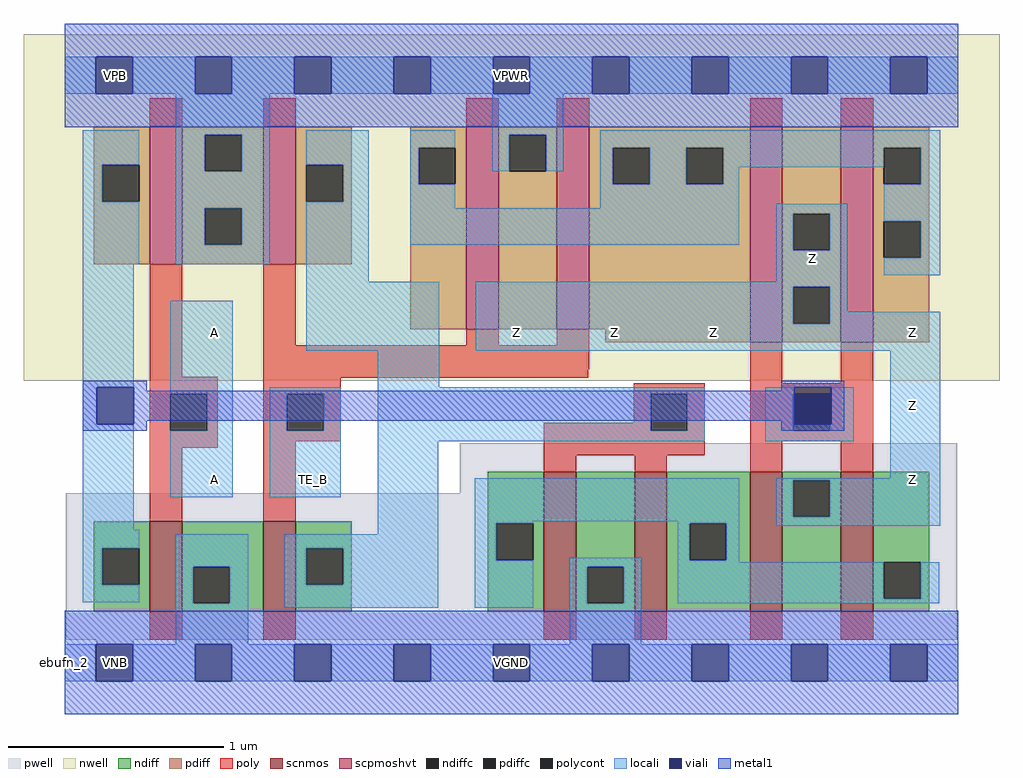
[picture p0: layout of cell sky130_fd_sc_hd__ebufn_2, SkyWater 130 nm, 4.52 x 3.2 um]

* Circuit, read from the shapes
.subckt sky130_fd_sc_hd__ebufn_2 A TE_B VGND VNB VPB VPWR Z
XM1 VGND A n1 VNB sky130_fd_pr__nfet_01v8 w=0.42 l=0.15
XM2 n2 TE_B VGND VNB sky130_fd_pr__nfet_01v8 w=0.42 l=0.15
XM3 VGND n2 n3 VNB sky130_fd_pr__nfet_01v8 w=0.65 l=0.15 m=2
XM4 Z n1 n3 VNB sky130_fd_pr__nfet_01v8 w=0.65 l=0.15 m=2
XM5 VPWR A n1 VPB sky130_fd_pr__pfet_01v8_hvt w=0.64 l=0.15
XM6 n2 TE_B VPWR VPB sky130_fd_pr__pfet_01v8_hvt w=0.64 l=0.15
XM7 VPWR TE_B n4 VPB sky130_fd_pr__pfet_01v8_hvt w=0.94 l=0.15 m=2
XM8 Z n1 n4 VPB sky130_fd_pr__pfet_01v8_hvt w=1 l=0.15 m=2
.ends

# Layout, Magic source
magic
tech sky130A
magscale 1 2
<< nwell >>
rect -38 261 866 582
<< pwell >>
rect 366 157 827 203
rect 1 21 827 157
rect 30 -17 64 21
<< scnmos >>
rect 79 47 109 131
rect 184 47 214 131
rect 444 47 474 177
rect 528 47 558 177
rect 635 47 665 177
rect 719 47 749 177
<< scpmoshvt >>
rect 79 369 109 497
rect 184 369 214 497
rect 372 309 402 497
rect 456 309 486 497
rect 635 297 665 497
rect 719 297 749 497
<< ndiff >>
rect 27 106 79 131
rect 27 72 35 106
rect 69 72 79 106
rect 27 47 79 72
rect 109 89 184 131
rect 109 55 119 89
rect 153 55 184 89
rect 109 47 184 55
rect 214 106 266 131
rect 214 72 224 106
rect 258 72 266 106
rect 214 47 266 72
rect 392 129 444 177
rect 392 95 400 129
rect 434 95 444 129
rect 392 47 444 95
rect 474 89 528 177
rect 474 55 484 89
rect 518 55 528 89
rect 474 47 528 55
rect 558 129 635 177
rect 558 95 579 129
rect 613 95 635 129
rect 558 47 635 95
rect 665 169 719 177
rect 665 135 675 169
rect 709 135 719 169
rect 665 47 719 135
rect 749 93 801 177
rect 749 59 759 93
rect 793 59 801 93
rect 749 47 801 59
<< pdiff >>
rect 27 461 79 497
rect 27 427 35 461
rect 69 427 79 461
rect 27 369 79 427
rect 109 489 184 497
rect 109 455 130 489
rect 164 455 184 489
rect 109 421 184 455
rect 109 387 130 421
rect 164 387 184 421
rect 109 369 184 387
rect 214 461 266 497
rect 214 427 224 461
rect 258 427 266 461
rect 214 369 266 427
rect 320 477 372 497
rect 320 443 328 477
rect 362 443 372 477
rect 320 309 372 443
rect 402 489 456 497
rect 402 455 412 489
rect 446 455 456 489
rect 402 309 456 455
rect 486 477 635 497
rect 486 443 508 477
rect 542 443 576 477
rect 610 443 635 477
rect 486 309 635 443
rect 501 297 635 309
rect 665 416 719 497
rect 665 382 675 416
rect 709 382 719 416
rect 665 348 719 382
rect 665 314 675 348
rect 709 314 719 348
rect 665 297 719 314
rect 749 477 801 497
rect 749 443 759 477
rect 793 443 801 477
rect 749 409 801 443
rect 749 375 759 409
rect 793 375 801 409
rect 749 297 801 375
<< ndiffc >>
rect 35 72 69 106
rect 119 55 153 89
rect 224 72 258 106
rect 400 95 434 129
rect 484 55 518 89
rect 579 95 613 129
rect 675 135 709 169
rect 759 59 793 93
<< pdiffc >>
rect 35 427 69 461
rect 130 455 164 489
rect 130 387 164 421
rect 224 427 258 461
rect 328 443 362 477
rect 412 455 446 489
rect 508 443 542 477
rect 576 443 610 477
rect 675 382 709 416
rect 675 314 709 348
rect 759 443 793 477
rect 759 375 793 409
<< poly >>
rect 79 497 109 523
rect 184 497 214 523
rect 372 497 402 523
rect 456 497 486 523
rect 635 497 665 523
rect 719 497 749 523
rect 79 265 109 369
rect 184 294 214 369
rect 372 294 402 309
rect 456 294 486 309
rect 184 272 486 294
rect 79 249 142 265
rect 79 215 98 249
rect 132 215 142 249
rect 79 199 142 215
rect 184 264 485 272
rect 184 249 256 264
rect 635 259 665 297
rect 719 259 749 297
rect 184 215 206 249
rect 240 215 256 249
rect 527 249 593 259
rect 527 222 543 249
rect 184 205 256 215
rect 444 215 543 222
rect 577 215 593 249
rect 79 131 109 199
rect 184 131 214 205
rect 444 192 593 215
rect 635 249 749 259
rect 635 215 675 249
rect 709 215 749 249
rect 635 205 749 215
rect 444 177 474 192
rect 528 177 558 192
rect 635 177 665 205
rect 719 177 749 205
rect 79 21 109 47
rect 184 21 214 47
rect 444 21 474 47
rect 528 21 558 47
rect 635 21 665 47
rect 719 21 749 47
<< polycont >>
rect 98 215 132 249
rect 206 215 240 249
rect 543 215 577 249
rect 675 215 709 249
<< locali >>
rect 0 527 29 561
rect 63 527 121 561
rect 155 527 213 561
rect 247 527 305 561
rect 339 527 397 561
rect 431 527 489 561
rect 523 527 581 561
rect 615 527 673 561
rect 707 527 765 561
rect 799 527 828 561
rect 17 461 69 493
rect 17 427 35 461
rect 17 369 69 427
rect 103 489 190 527
rect 103 455 130 489
rect 164 455 190 489
rect 103 421 190 455
rect 103 387 130 421
rect 164 387 190 421
rect 103 369 190 387
rect 224 461 282 493
rect 258 427 282 461
rect 17 255 64 369
rect 224 353 282 427
rect 320 477 362 493
rect 320 443 328 477
rect 396 489 462 527
rect 396 455 412 489
rect 446 455 462 489
rect 496 477 811 493
rect 320 421 362 443
rect 496 443 508 477
rect 542 443 576 477
rect 610 459 759 477
rect 610 443 625 459
rect 496 421 625 443
rect 793 443 811 477
rect 320 387 625 421
rect 659 416 725 425
rect 659 382 675 416
rect 709 382 725 416
rect 659 353 725 382
rect 759 409 811 443
rect 793 375 811 409
rect 759 359 811 375
rect 17 221 30 255
rect 17 123 64 221
rect 98 249 156 335
rect 224 289 347 353
rect 381 348 725 353
rect 381 314 675 348
rect 709 325 725 348
rect 709 314 811 325
rect 381 289 811 314
rect 290 255 347 289
rect 132 215 156 249
rect 98 153 156 215
rect 190 249 256 255
rect 190 215 206 249
rect 240 215 256 249
rect 190 153 256 215
rect 290 249 593 255
rect 290 215 543 249
rect 577 215 593 249
rect 290 205 593 215
rect 649 249 676 255
rect 649 215 675 249
rect 710 221 731 255
rect 709 215 731 221
rect 649 205 731 215
rect 17 106 69 123
rect 290 119 346 205
rect 765 171 811 289
rect 17 72 35 106
rect 17 56 69 72
rect 103 89 170 119
rect 103 55 119 89
rect 153 55 170 89
rect 103 17 170 55
rect 204 106 346 119
rect 204 72 224 106
rect 258 72 346 106
rect 204 51 346 72
rect 380 131 625 171
rect 380 129 434 131
rect 380 95 400 129
rect 568 129 625 131
rect 380 51 434 95
rect 468 89 534 97
rect 468 55 484 89
rect 518 55 534 89
rect 568 95 579 129
rect 613 95 625 129
rect 659 169 811 171
rect 659 135 675 169
rect 709 135 811 169
rect 659 127 811 135
rect 568 93 625 95
rect 568 59 759 93
rect 793 59 810 93
rect 568 55 810 59
rect 468 17 534 55
rect 0 -17 29 17
rect 63 -17 121 17
rect 155 -17 213 17
rect 247 -17 305 17
rect 339 -17 397 17
rect 431 -17 489 17
rect 523 -17 581 17
rect 615 -17 673 17
rect 707 -17 765 17
rect 799 -17 828 17
<< viali >>
rect 29 527 63 561
rect 121 527 155 561
rect 213 527 247 561
rect 305 527 339 561
rect 397 527 431 561
rect 489 527 523 561
rect 581 527 615 561
rect 673 527 707 561
rect 765 527 799 561
rect 30 221 64 255
rect 676 249 710 255
rect 676 221 709 249
rect 709 221 710 249
rect 29 -17 63 17
rect 121 -17 155 17
rect 213 -17 247 17
rect 305 -17 339 17
rect 397 -17 431 17
rect 489 -17 523 17
rect 581 -17 615 17
rect 673 -17 707 17
rect 765 -17 799 17
<< metal1 >>
rect 0 561 828 592
rect 0 527 29 561
rect 63 527 121 561
rect 155 527 213 561
rect 247 527 305 561
rect 339 527 397 561
rect 431 527 489 561
rect 523 527 581 561
rect 615 527 673 561
rect 707 527 765 561
rect 799 527 828 561
rect 0 496 828 527
rect 17 255 76 261
rect 17 221 30 255
rect 64 252 76 255
rect 664 255 722 261
rect 664 252 676 255
rect 64 224 676 252
rect 64 221 76 224
rect 17 215 76 221
rect 664 221 676 224
rect 710 221 722 255
rect 664 215 722 221
rect 0 17 828 48
rect 0 -17 29 17
rect 63 -17 121 17
rect 155 -17 213 17
rect 247 -17 305 17
rect 339 -17 397 17
rect 431 -17 489 17
rect 523 -17 581 17
rect 615 -17 673 17
rect 707 -17 765 17
rect 799 -17 828 17
rect 0 -48 828 -17
<< labels >>
flabel locali s 768 221 802 255 0 FreeSans 200 0 0 0 Z
port 7 nsew signal output
flabel locali s 768 289 802 323 0 FreeSans 200 0 0 0 Z
port 7 nsew signal output
flabel locali s 122 153 156 187 0 FreeSans 200 0 0 0 A
port 1 nsew signal input
flabel locali s 676 357 710 391 0 FreeSans 200 0 0 0 Z
port 7 nsew signal output
flabel locali s 122 289 156 323 0 FreeSans 200 0 0 0 A
port 1 nsew signal input
flabel locali s 214 153 248 187 0 FreeSans 200 0 0 0 TE_B
port 2 nsew signal input
flabel locali s 584 289 618 323 0 FreeSans 200 0 0 0 Z
port 7 nsew signal output
flabel locali s 493 289 526 323 0 FreeSans 200 0 0 0 Z
port 7 nsew signal output
flabel locali s 402 289 436 323 0 FreeSans 200 0 0 0 Z
port 7 nsew signal output
flabel locali s 768 153 802 187 0 FreeSans 200 0 0 0 Z
port 7 nsew signal output
flabel pwell s 30 -17 64 17 0 FreeSans 200 0 0 0 VNB
port 4 nsew ground bidirectional
flabel nwell s 30 527 64 561 0 FreeSans 200 0 0 0 VPB
port 5 nsew power bidirectional
flabel metal1 s 30 -17 64 17 0 FreeSans 200 0 0 0 VGND
port 3 nsew ground bidirectional abutment
flabel metal1 s 30 527 64 561 0 FreeSans 200 0 0 0 VPWR
port 6 nsew power bidirectional abutment
rlabel comment s 0 0 0 0 4 ebufn_2
rlabel metal1 s 0 -48 828 48 1 VGND
port 3 nsew ground bidirectional abutment
rlabel metal1 s 0 496 828 592 1 VPWR
port 6 nsew power bidirectional abutment
<< properties >>
string FIXED_BBOX 0 0 828 544
string GDS_END 2931524
string GDS_FILE $PDKPATH/libs.ref/sky130_fd_sc_hd/gds/sky130_fd_sc_hd.gds
string GDS_START 2924328
string LEFclass CORE
string LEFsite unithd
string LEFsymmetry X Y R90
string path 0.000 0.000 20.700 0.000 
<< end >>
